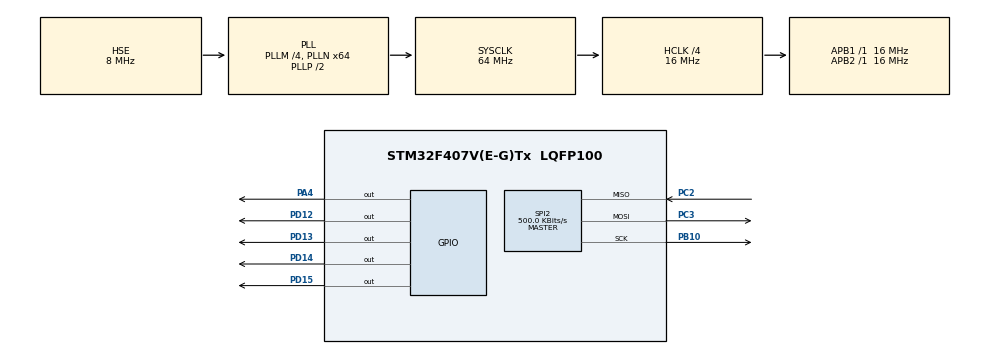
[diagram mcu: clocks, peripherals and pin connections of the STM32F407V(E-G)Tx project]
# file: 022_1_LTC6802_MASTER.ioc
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Mcu.Family=STM32F4
Mcu.Name=STM32F407V(E-G)Tx
Mcu.Package=LQFP100
NVIC.PriorityGroup=NVIC_PRIORITYGROUP_4
PA4.PinState=GPIO_PIN_SET
PA4.Signal=GPIO_Output
PB10.Mode=Full_Duplex_Master
PB10.Signal=SPI2_SCK
PC2.Mode=Full_Duplex_Master
PC2.Signal=SPI2_MISO
PC3.Mode=Full_Duplex_Master
PC3.Signal=SPI2_MOSI
PD12.Signal=GPIO_Output
PD13.Signal=GPIO_Output
PD14.Signal=GPIO_Output
PD15.Signal=GPIO_Output
PH0-OSC_IN.Mode=HSE-External-Oscillator
PH0-OSC_IN.Signal=RCC_OSC_IN
PH1-OSC_OUT.Mode=HSE-External-Oscillator
PH1-OSC_OUT.Signal=RCC_OSC_OUT
ProjectManager.HeapSize=0x200
ProjectManager.StackSize=0x400
ProjectManager.TargetToolchain=STM32CubeIDE
RCC.48MHZClocksFreq_Value=32000000
RCC.AHBCLKDivider=RCC_SYSCLK_DIV4
RCC.AHBFreq_Value=16000000
RCC.APB1Freq_Value=16000000
RCC.APB1TimFreq_Value=16000000
RCC.APB2Freq_Value=16000000
RCC.APB2TimFreq_Value=16000000
RCC.CortexFreq_Value=16000000
RCC.HCLKFreq_Value=16000000
RCC.HSE_VALUE=8000000
RCC.HSI_VALUE=16000000
RCC.LSE_VALUE=32768
RCC.PLLM=4
RCC.PLLN=64
RCC.PLLSourceVirtual=RCC_PLLSOURCE_HSE
RCC.SYSCLKFreq_VALUE=64000000
RCC.SYSCLKSource=RCC_SYSCLKSOURCE_PLLCLK
RCC.VCOOutputFreq_Value=128000000
SPI2.BaudRatePrescaler=SPI_BAUDRATEPRESCALER_32
SPI2.CLKPolarity=SPI_POLARITY_HIGH
SPI2.CalculateBaudRate=500.0 KBits/s
SPI2.Direction=SPI_DIRECTION_2LINES
SPI2.Mode=SPI_MODE_MASTER
SPI2.VirtualType=VM_MASTER
board=custom

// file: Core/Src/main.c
/* USER CODE BEGIN Header */
/**
  ******************************************************************************
  * @file           : main.c
  * @brief          : Main program body
  ******************************************************************************
  * @attention
  *
  * <h2><center>&copy; Copyright (c) 2021 STMicroelectronics.
  * All rights reserved.</center></h2>
  *
  * This software component is licensed by ST under BSD 3-Clause license,
  * the "License"; You may not use this file except in compliance with the
  * License. You may obtain a copy of the License at:
  *                        opensource.org/licenses/BSD-3-Clause
  *
  ******************************************************************************
  */
/* USER CODE END Header */
#include "main.h"

/* USER CODE BEGIN Includes */
#define WRCFG 0x01 //Write Configuration Registers
#define RDCFG 0x02 // Read config
#define RDCV 0x04 // Read cells
#define STCVAD 0x10 // Start all A/D's - poll status
#define RDFLG 0x06 //Read Flags
#define RDTMP 0x08 //Read Temperatures
#define STCDC 0x60 //A/D converter and poll Status
#define STOWAD 0x20 //Start Test - poll status
#define STTMPAD 0x30// Temperature Reading - ALL
#define address 0x50

#include "string.h"
#include "LTC6802.h"
/* USER CODE END Includes */

SPI_HandleTypeDef hspi2;

/* USER CODE BEGIN PV */
uint8_t uartTxBuffer[] = "\r\n****SPI - Polling Modda iki kart haberlesmesi **** \r\n";
uint8_t aTxBuffer[] = "SPI MASTER ILETIM: MASTERDAN SLAVE*****00\n";
uint8_t aRxBuffer[43]={0};
/* USER CODE END PV */

void SystemClock_Config(void);
static void MX_GPIO_Init(void);
static void MX_SPI2_Init(void);

int main(void)
{

  /* MCU Configuration--------------------------------------------------------*/

  /* Reset of all peripherals, Initializes the Flash interface and the Systick. */
  HAL_Init();

  /* Configure the system clock */
  SystemClock_Config();

  /* Initialize all configured peripherals */
  MX_GPIO_Init();
  MX_SPI2_Init();
  /* USER CODE BEGIN 2 */

//  if(HAL_UART_Transmit(&huart2, (uint8_t*)uartTxBuffer, 55, 5000)!= HAL_OK)
//  {
//    Error_Handler();
//  }

//  for(volatile uint8_t i=0;i<16;i++)
//  {
//	  HAL_GPIO_TogglePin(GPIOD, GPIO_PIN_12);
//	  HAL_Delay(100);
//  }

  /* CLK sinyalinin düzgün şekilde aşağı çekilmesi için SPI gönderme / alma işlevlerini çağırmadan önce SPI bloğu etkinleştirilir.
        Aksi takdirde, SPI CLK sinyali bu kartta temiz değildir ve aktarım sırasında hatalara neden olur */

//  __HAL_SPI_ENABLE(&hspi2);
//
//  HAL_GPIO_WritePin(GPIOD, GPIO_PIN_12,GPIO_PIN_RESET);

//  switch(HAL_SPI_TransmitReceive(&hspi2, (uint8_t*)aTxBuffer, (uint8_t *)aRxBuffer, 43, 500))
//  {
//    case HAL_OK:
//    	  HAL_GPIO_WritePin(GPIOD, GPIO_PIN_12, GPIO_PIN_SET);
//    	  HAL_GPIO_WritePin(GPIOD, GPIO_PIN_13, GPIO_PIN_SET);
//      break;
//
//    case HAL_TIMEOUT:
//    	  HAL_GPIO_WritePin(GPIOD, GPIO_PIN_12, GPIO_PIN_SET);
//  	  	  HAL_GPIO_WritePin(GPIOD, GPIO_PIN_13, GPIO_PIN_SET);
//    	  HAL_GPIO_WritePin(GPIOD, GPIO_PIN_14, GPIO_PIN_SET);
//    case HAL_ERROR:
//    	  HAL_GPIO_WritePin(GPIOD, GPIO_PIN_12, GPIO_PIN_SET);
//	  	  HAL_GPIO_WritePin(GPIOD, GPIO_PIN_13, GPIO_PIN_SET);
//  	      HAL_GPIO_WritePin(GPIOD, GPIO_PIN_14, GPIO_PIN_SET);
//      break;
//
//    default:
//      break;
//  }
  /* USER CODE END 2 */

  /* Infinite loop */
  /* USER CODE BEGIN WHILE */
  while (1)
  {

	  yaz();
	  oku();
	  v_oku();
//	  HAL_Delay(2000);

	 /* oku();
	  HAL_Delay(2000);

	  v_oku();
	  HAL_Delay(2000);*/

//		uint8_t data[2];
//		data[1] = address;
//		data[0] = WRCFG;//deger
//		//HAL_GPIO_WritePin(GPIOA, GPIO_PIN_4, RESET); // CS pini low yapıldı.
//		HAL_SPI_Transmit(&hspi2, data, 2, 1000);
		//HAL_GPIO_WritePin(GPIOA, GPIO_PIN_4, SET); // CS pini low yapıldı.
		//HAL_Delay(500);
		/*
	  	  switch(HAL_SPI_TransmitReceive(&hspi2, (uint8_t *)aTxBuffer, (uint8_t *)aRxBuffer, 43, 5000))
	  	  {
	  	    case HAL_OK:
	      	  HAL_GPIO_WritePin(GPIOD, GPIO_PIN_12, GPIO_PIN_SET);
	    	  HAL_GPIO_WritePin(GPIOD, GPIO_PIN_13, GPIO_PIN_SET);
	      	  HAL_GPIO_WritePin(GPIOD, GPIO_PIN_14, GPIO_PIN_SET);
	      	  HAL_GPIO_WritePin(GPIOD, GPIO_PIN_15, GPIO_PIN_SET);
	      	break;
//	  	      while(HAL_UART_GetState(&huart2)!= HAL_UART_STATE_READY);
//	  	      if(HAL_UART_Transmit(&huart2, (uint8_t*)aRxBuffer, 43, 5000)!= HAL_OK)
//	  		  {
//	  		    Error_Handler();
//	  		  }
	  	    case HAL_TIMEOUT:
	      	  HAL_GPIO_WritePin(GPIOD, GPIO_PIN_12, GPIO_PIN_SET);
	    	  HAL_GPIO_WritePin(GPIOD, GPIO_PIN_13, GPIO_PIN_SET);
	      	  HAL_GPIO_WritePin(GPIOD, GPIO_PIN_14, GPIO_PIN_SET);
	  	    case HAL_ERROR:
	      	  HAL_GPIO_WritePin(GPIOD, GPIO_PIN_12, GPIO_PIN_SET);
	    	  HAL_GPIO_WritePin(GPIOD, GPIO_PIN_13, GPIO_PIN_SET);
	      	  HAL_GPIO_WritePin(GPIOD, GPIO_PIN_14, GPIO_PIN_SET);
	  	      break;
	  	    default:
	  	      break;
	  	  }*/

    /* USER CODE END WHILE */

  }
}

void SystemClock_Config(void)
{
  RCC_OscInitTypeDef RCC_OscInitStruct = {0};
  RCC_ClkInitTypeDef RCC_ClkInitStruct = {0};

  /** Configure the main internal regulator output voltage
  */
  __HAL_RCC_PWR_CLK_ENABLE();
  __HAL_PWR_VOLTAGESCALING_CONFIG(PWR_REGULATOR_VOLTAGE_SCALE1);
  /** Initializes the RCC Oscillators according to the specified parameters
  * in the RCC_OscInitTypeDef structure.
  */
  RCC_OscInitStruct.OscillatorType = RCC_OSCILLATORTYPE_HSE;
  RCC_OscInitStruct.HSEState = RCC_HSE_ON;
  RCC_OscInitStruct.PLL.PLLState = RCC_PLL_ON;
  RCC_OscInitStruct.PLL.PLLSource = RCC_PLLSOURCE_HSE;
  RCC_OscInitStruct.PLL.PLLM = 4;
  RCC_OscInitStruct.PLL.PLLN = 64;
  RCC_OscInitStruct.PLL.PLLP = RCC_PLLP_DIV2;
  RCC_OscInitStruct.PLL.PLLQ = 4;
  if (HAL_RCC_OscConfig(&RCC_OscInitStruct) != HAL_OK)
  {
    Error_Handler();
  }
  /** Initializes the CPU, AHB and APB buses clocks
  */
  RCC_ClkInitStruct.ClockType = RCC_CLOCKTYPE_HCLK|RCC_CLOCKTYPE_SYSCLK
                              |RCC_CLOCKTYPE_PCLK1|RCC_CLOCKTYPE_PCLK2;
  RCC_ClkInitStruct.SYSCLKSource = RCC_SYSCLKSOURCE_PLLCLK;
  RCC_ClkInitStruct.AHBCLKDivider = RCC_SYSCLK_DIV4;
  RCC_ClkInitStruct.APB1CLKDivider = RCC_HCLK_DIV1;
  RCC_ClkInitStruct.APB2CLKDivider = RCC_HCLK_DIV1;

  if (HAL_RCC_ClockConfig(&RCC_ClkInitStruct, FLASH_LATENCY_0) != HAL_OK)
  {
    Error_Handler();
  }
}

static void MX_SPI2_Init(void)
{

  /* SPI2 parameter configuration*/
  hspi2.Instance = SPI2;
  hspi2.Init.Mode = SPI_MODE_MASTER;
  hspi2.Init.Direction = SPI_DIRECTION_2LINES;
  hspi2.Init.DataSize = SPI_DATASIZE_8BIT;
  hspi2.Init.CLKPolarity = SPI_POLARITY_HIGH;
  hspi2.Init.CLKPhase = SPI_PHASE_1EDGE;
  hspi2.Init.NSS = SPI_NSS_SOFT;
  hspi2.Init.BaudRatePrescaler = SPI_BAUDRATEPRESCALER_32;
  hspi2.Init.FirstBit = SPI_FIRSTBIT_MSB;
  hspi2.Init.TIMode = SPI_TIMODE_DISABLE;
  hspi2.Init.CRCCalculation = SPI_CRCCALCULATION_DISABLE;
  hspi2.Init.CRCPolynomial = 10;
  if (HAL_SPI_Init(&hspi2) != HAL_OK)
  {
    Error_Handler();
  }

}

static void MX_GPIO_Init(void)
{
  GPIO_InitTypeDef GPIO_InitStruct = {0};

  /* GPIO Ports Clock Enable */
  __HAL_RCC_GPIOH_CLK_ENABLE();
  __HAL_RCC_GPIOC_CLK_ENABLE();
  __HAL_RCC_GPIOA_CLK_ENABLE();
  __HAL_RCC_GPIOB_CLK_ENABLE();
  __HAL_RCC_GPIOD_CLK_ENABLE();

  /*Configure GPIO pin Output Level */
  HAL_GPIO_WritePin(GPIOA, GPIO_PIN_4, GPIO_PIN_SET);

  /*Configure GPIO pin Output Level */
  HAL_GPIO_WritePin(GPIOD, GPIO_PIN_12|GPIO_PIN_13|GPIO_PIN_14|GPIO_PIN_15, GPIO_PIN_RESET);

  /*Configure GPIO pin : PA4 */
  GPIO_InitStruct.Pin = GPIO_PIN_4;
  GPIO_InitStruct.Mode = GPIO_MODE_OUTPUT_PP;
  GPIO_InitStruct.Pull = GPIO_NOPULL;
  GPIO_InitStruct.Speed = GPIO_SPEED_FREQ_LOW;
  HAL_GPIO_Init(GPIOA, &GPIO_InitStruct);

  /*Configure GPIO pins : PD12 PD13 PD14 PD15 */
  GPIO_InitStruct.Pin = GPIO_PIN_12|GPIO_PIN_13|GPIO_PIN_14|GPIO_PIN_15;
  GPIO_InitStruct.Mode = GPIO_MODE_OUTPUT_PP;
  GPIO_InitStruct.Pull = GPIO_NOPULL;
  GPIO_InitStruct.Speed = GPIO_SPEED_FREQ_LOW;
  HAL_GPIO_Init(GPIOD, &GPIO_InitStruct);

}

/* USER CODE BEGIN 4 */
//void HAL_SPI_TxRxCpltCallback(SPI_HandleTypeDef *hspi)
//{
//
//	  if(HAL_SPI_TransmitReceive_IT(&hspi1, (uint8_t*)aTxBuffer, (uint8_t *)data, 43) != HAL_OK)
//	  {
//		Error_Handler();
//	  }
//	  HAL_GPIO_WritePin(GPIOD, GPIO_PIN_12, SET);
//	  HAL_GPIO_WritePin(GPIOD, GPIO_PIN_13, SET);
//	  HAL_GPIO_WritePin(GPIOD, GPIO_PIN_14, SET);
//	  HAL_GPIO_WritePin(GPIOD, GPIO_PIN_15, SET);
//}
/* USER CODE END 4 */

void Error_Handler(void)
{
  __disable_irq();
  while (1)
  {
  }
}

/************************ (C) COPYRIGHT STMicroelectronics *****END OF FILE****/
